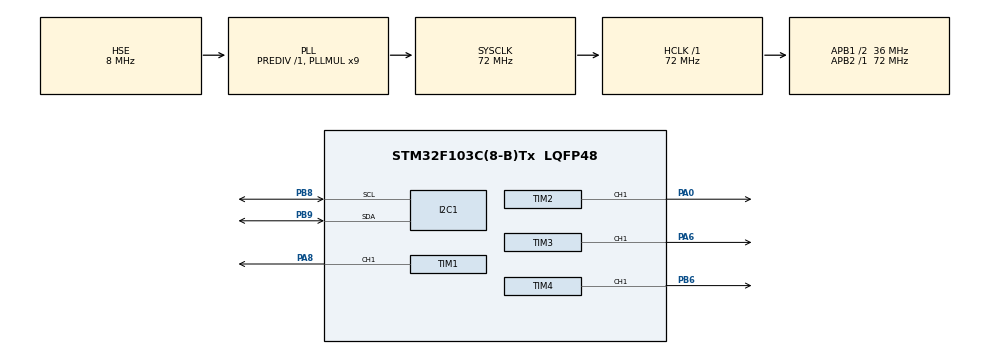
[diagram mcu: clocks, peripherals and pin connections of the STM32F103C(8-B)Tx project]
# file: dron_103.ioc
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Mcu.Family=STM32F1
Mcu.Name=STM32F103C(8-B)Tx
Mcu.Package=LQFP48
NVIC.PriorityGroup=NVIC_PRIORITYGROUP_4
PA0-WKUP.GPIO_Speed=GPIO_SPEED_FREQ_HIGH
PA0-WKUP.Signal=S_TIM2_CH1_ETR
PA13.Mode=Serial_Wire
PA13.Signal=SYS_JTMS-SWDIO
PA14.Mode=Serial_Wire
PA14.Signal=SYS_JTCK-SWCLK
PA6.GPIO_Speed=GPIO_SPEED_FREQ_HIGH
PA6.Signal=S_TIM3_CH1
PA8.GPIO_ModeDefaultPP=GPIO_MODE_AF_PP
PA8.GPIO_Speed=GPIO_SPEED_FREQ_HIGH
PA8.Signal=S_TIM1_CH1
PB6.GPIO_Speed=GPIO_SPEED_FREQ_HIGH
PB6.Signal=S_TIM4_CH1
PB8.Mode=I2C
PB8.Signal=I2C1_SCL
PB9.Mode=I2C
PB9.Signal=I2C1_SDA
PC14-OSC32_IN.Mode=LSE-External-Oscillator
PC14-OSC32_IN.Signal=RCC_OSC32_IN
PC15-OSC32_OUT.Mode=LSE-External-Oscillator
PC15-OSC32_OUT.Signal=RCC_OSC32_OUT
PD0-OSC_IN.Mode=HSE-External-Oscillator
PD0-OSC_IN.Signal=RCC_OSC_IN
PD1-OSC_OUT.Mode=HSE-External-Oscillator
PD1-OSC_OUT.Signal=RCC_OSC_OUT
ProjectManager.HeapSize=0x200
ProjectManager.StackSize=0x400
ProjectManager.TargetToolchain=STM32CubeIDE
RCC.AHBFreq_Value=72000000
RCC.APB1CLKDivider=RCC_HCLK_DIV2
RCC.APB1Freq_Value=36000000
RCC.APB1TimFreq_Value=72000000
RCC.APB2Freq_Value=72000000
RCC.APB2TimFreq_Value=72000000
RCC.HCLKFreq_Value=72000000
RCC.PLLMUL=RCC_PLL_MUL9
RCC.PLLSourceVirtual=RCC_PLLSOURCE_HSE
RCC.SYSCLKFreq_VALUE=72000000
RCC.SYSCLKSource=RCC_SYSCLKSOURCE_PLLCLK
RCC.USBFreq_Value=72000000
SH.S_TIM1_CH1.0=TIM1_CH1,PWM Generation1 CH1
SH.S_TIM2_CH1_ETR.0=TIM2_CH1,PWM Generation1 CH1
SH.S_TIM3_CH1.0=TIM3_CH1,PWM Generation1 CH1
SH.S_TIM4_CH1.0=TIM4_CH1,PWM Generation1 CH1
TIM1.AutoReloadPreload=TIM_AUTORELOAD_PRELOAD_DISABLE
TIM1.Channel-PWM\ Generation1\ CH1=TIM_CHANNEL_1
TIM1.Period=1000 - 1
TIM1.Prescaler=72 - 1
TIM1.Pulse-PWM\ Generation1\ CH1=500
TIM2.Channel-PWM\ Generation1\ CH1=TIM_CHANNEL_1
TIM2.Period=5000-1
TIM2.Prescaler=72-1
TIM2.Pulse-PWM\ Generation1\ CH1=2500
TIM3.Channel-PWM\ Generation1\ CH1=TIM_CHANNEL_1
TIM3.Period=500-1
TIM3.Prescaler=72-1
TIM3.Pulse-PWM\ Generation1\ CH1=250
TIM4.Channel-PWM\ Generation1\ CH1=TIM_CHANNEL_1
TIM4.Period=100-1
TIM4.Prescaler=72-1
TIM4.Pulse-PWM\ Generation1\ CH1=50
board=custom

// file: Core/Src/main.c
/* USER CODE BEGIN Header */
/**
  ******************************************************************************
  * @file           : main.c
  * @brief          : Main program body
  ******************************************************************************
  * @attention
  *
  * Copyright (c) 2024 STMicroelectronics.
  * All rights reserved.
  *
  * This software is licensed under terms that can be found in the LICENSE file
  * in the root directory of this software component.
  * If no LICENSE file comes with this software, it is provided AS-IS.
  *
  ******************************************************************************
  */
/* USER CODE END Header */
#include "main.h"

I2C_HandleTypeDef hi2c1;

TIM_HandleTypeDef htim1;
TIM_HandleTypeDef htim2;
TIM_HandleTypeDef htim3;
TIM_HandleTypeDef htim4;

void SystemClock_Config(void);
static void MX_GPIO_Init(void);
static void MX_I2C1_Init(void);
static void MX_TIM1_Init(void);
static void MX_TIM2_Init(void);
static void MX_TIM3_Init(void);
static void MX_TIM4_Init(void);
/* USER CODE BEGIN PFP */
void TIM_PWM_Init(uint32_t frequency, TIM_HandleTypeDef *htim);
/* USER CODE END PFP */

int main(void)
{

  /* MCU Configuration--------------------------------------------------------*/

  /* Reset of all peripherals, Initializes the Flash interface and the Systick. */
  HAL_Init();

  /* Configure the system clock */
  SystemClock_Config();

  /* Initialize all configured peripherals */
  MX_GPIO_Init();
  MX_I2C1_Init();
  MX_TIM1_Init();
  MX_TIM2_Init();
  MX_TIM3_Init();
  MX_TIM4_Init();
  /* USER CODE BEGIN 2 */

      //   HAL_TIM_PWM_Start(&htim1, TIM_CHANNEL_1);

         uint32_t frequency = 10000; // Частота таймера (в Гц)
         TIM_PWM_Init(frequency, &htim1);
         frequency = 111;
         TIM_PWM_Init(frequency, &htim2);
         frequency = 333;
         TIM_PWM_Init(frequency, &htim3);
         frequency = 5555;
        TIM_PWM_Init(frequency, &htim4);
  /* USER CODE END 2 */

  /* Infinite loop */
  while (1)
  {

  }
}

void SystemClock_Config(void)
{
  RCC_OscInitTypeDef RCC_OscInitStruct = {0};
  RCC_ClkInitTypeDef RCC_ClkInitStruct = {0};

  /** Initializes the RCC Oscillators according to the specified parameters
  * in the RCC_OscInitTypeDef structure.
  */
  RCC_OscInitStruct.OscillatorType = RCC_OSCILLATORTYPE_HSE;
  RCC_OscInitStruct.HSEState = RCC_HSE_ON;
  RCC_OscInitStruct.HSEPredivValue = RCC_HSE_PREDIV_DIV1;
  RCC_OscInitStruct.HSIState = RCC_HSI_ON;
  RCC_OscInitStruct.PLL.PLLState = RCC_PLL_ON;
  RCC_OscInitStruct.PLL.PLLSource = RCC_PLLSOURCE_HSE;
  RCC_OscInitStruct.PLL.PLLMUL = RCC_PLL_MUL9;
  if (HAL_RCC_OscConfig(&RCC_OscInitStruct) != HAL_OK)
  {
    Error_Handler();
  }

  /** Initializes the CPU, AHB and APB buses clocks
  */
  RCC_ClkInitStruct.ClockType = RCC_CLOCKTYPE_HCLK|RCC_CLOCKTYPE_SYSCLK
                              |RCC_CLOCKTYPE_PCLK1|RCC_CLOCKTYPE_PCLK2;
  RCC_ClkInitStruct.SYSCLKSource = RCC_SYSCLKSOURCE_PLLCLK;
  RCC_ClkInitStruct.AHBCLKDivider = RCC_SYSCLK_DIV1;
  RCC_ClkInitStruct.APB1CLKDivider = RCC_HCLK_DIV2;
  RCC_ClkInitStruct.APB2CLKDivider = RCC_HCLK_DIV1;

  if (HAL_RCC_ClockConfig(&RCC_ClkInitStruct, FLASH_LATENCY_2) != HAL_OK)
  {
    Error_Handler();
  }
}

static void MX_I2C1_Init(void)
{

  hi2c1.Instance = I2C1;
  hi2c1.Init.ClockSpeed = 100000;
  hi2c1.Init.DutyCycle = I2C_DUTYCYCLE_2;
  hi2c1.Init.OwnAddress1 = 0;
  hi2c1.Init.AddressingMode = I2C_ADDRESSINGMODE_7BIT;
  hi2c1.Init.DualAddressMode = I2C_DUALADDRESS_DISABLE;
  hi2c1.Init.OwnAddress2 = 0;
  hi2c1.Init.GeneralCallMode = I2C_GENERALCALL_DISABLE;
  hi2c1.Init.NoStretchMode = I2C_NOSTRETCH_DISABLE;
  if (HAL_I2C_Init(&hi2c1) != HAL_OK)
  {
    Error_Handler();
  }

}

static void MX_TIM1_Init(void)
{

  /* USER CODE BEGIN TIM1_Init 0 */
	 __HAL_RCC_TIM1_CLK_ENABLE();
  /* USER CODE END TIM1_Init 0 */

  TIM_MasterConfigTypeDef sMasterConfig = {0};
  TIM_OC_InitTypeDef sConfigOC = {0};
  TIM_BreakDeadTimeConfigTypeDef sBreakDeadTimeConfig = {0};

  htim1.Instance = TIM1;
  htim1.Init.Prescaler = 72 - 1;
  htim1.Init.CounterMode = TIM_COUNTERMODE_UP;
  htim1.Init.Period = 1000 - 1;
  htim1.Init.ClockDivision = TIM_CLOCKDIVISION_DIV1;
  htim1.Init.RepetitionCounter = 0;
  htim1.Init.AutoReloadPreload = TIM_AUTORELOAD_PRELOAD_DISABLE;
  if (HAL_TIM_PWM_Init(&htim1) != HAL_OK)
  {
    Error_Handler();
  }
  sMasterConfig.MasterOutputTrigger = TIM_TRGO_RESET;
  sMasterConfig.MasterSlaveMode = TIM_MASTERSLAVEMODE_DISABLE;
  if (HAL_TIMEx_MasterConfigSynchronization(&htim1, &sMasterConfig) != HAL_OK)
  {
    Error_Handler();
  }
  sConfigOC.OCMode = TIM_OCMODE_PWM1;
  sConfigOC.Pulse = 500;
  sConfigOC.OCPolarity = TIM_OCPOLARITY_HIGH;
  sConfigOC.OCNPolarity = TIM_OCNPOLARITY_HIGH;
  sConfigOC.OCFastMode = TIM_OCFAST_DISABLE;
  sConfigOC.OCIdleState = TIM_OCIDLESTATE_RESET;
  sConfigOC.OCNIdleState = TIM_OCNIDLESTATE_RESET;
  if (HAL_TIM_PWM_ConfigChannel(&htim1, &sConfigOC, TIM_CHANNEL_1) != HAL_OK)
  {
    Error_Handler();
  }
  sBreakDeadTimeConfig.OffStateRunMode = TIM_OSSR_DISABLE;
  sBreakDeadTimeConfig.OffStateIDLEMode = TIM_OSSI_DISABLE;
  sBreakDeadTimeConfig.LockLevel = TIM_LOCKLEVEL_OFF;
  sBreakDeadTimeConfig.DeadTime = 0;
  sBreakDeadTimeConfig.BreakState = TIM_BREAK_DISABLE;
  sBreakDeadTimeConfig.BreakPolarity = TIM_BREAKPOLARITY_HIGH;
  sBreakDeadTimeConfig.AutomaticOutput = TIM_AUTOMATICOUTPUT_DISABLE;
  if (HAL_TIMEx_ConfigBreakDeadTime(&htim1, &sBreakDeadTimeConfig) != HAL_OK)
  {
    Error_Handler();
  }
  HAL_TIM_MspPostInit(&htim1);

}

static void MX_TIM2_Init(void)
{

  TIM_MasterConfigTypeDef sMasterConfig = {0};
  TIM_OC_InitTypeDef sConfigOC = {0};

  htim2.Instance = TIM2;
  htim2.Init.Prescaler = 72-1;
  htim2.Init.CounterMode = TIM_COUNTERMODE_UP;
  htim2.Init.Period = 5000-1;
  htim2.Init.ClockDivision = TIM_CLOCKDIVISION_DIV1;
  htim2.Init.AutoReloadPreload = TIM_AUTORELOAD_PRELOAD_DISABLE;
  if (HAL_TIM_PWM_Init(&htim2) != HAL_OK)
  {
    Error_Handler();
  }
  sMasterConfig.MasterOutputTrigger = TIM_TRGO_RESET;
  sMasterConfig.MasterSlaveMode = TIM_MASTERSLAVEMODE_DISABLE;
  if (HAL_TIMEx_MasterConfigSynchronization(&htim2, &sMasterConfig) != HAL_OK)
  {
    Error_Handler();
  }
  sConfigOC.OCMode = TIM_OCMODE_PWM1;
  sConfigOC.Pulse = 2500;
  sConfigOC.OCPolarity = TIM_OCPOLARITY_HIGH;
  sConfigOC.OCFastMode = TIM_OCFAST_DISABLE;
  if (HAL_TIM_PWM_ConfigChannel(&htim2, &sConfigOC, TIM_CHANNEL_1) != HAL_OK)
  {
    Error_Handler();
  }
  HAL_TIM_MspPostInit(&htim2);

}

static void MX_TIM3_Init(void)
{

  TIM_MasterConfigTypeDef sMasterConfig = {0};
  TIM_OC_InitTypeDef sConfigOC = {0};

  htim3.Instance = TIM3;
  htim3.Init.Prescaler = 72-1;
  htim3.Init.CounterMode = TIM_COUNTERMODE_UP;
  htim3.Init.Period = 500-1;
  htim3.Init.ClockDivision = TIM_CLOCKDIVISION_DIV1;
  htim3.Init.AutoReloadPreload = TIM_AUTORELOAD_PRELOAD_DISABLE;
  if (HAL_TIM_PWM_Init(&htim3) != HAL_OK)
  {
    Error_Handler();
  }
  sMasterConfig.MasterOutputTrigger = TIM_TRGO_RESET;
  sMasterConfig.MasterSlaveMode = TIM_MASTERSLAVEMODE_DISABLE;
  if (HAL_TIMEx_MasterConfigSynchronization(&htim3, &sMasterConfig) != HAL_OK)
  {
    Error_Handler();
  }
  sConfigOC.OCMode = TIM_OCMODE_PWM1;
  sConfigOC.Pulse = 250;
  sConfigOC.OCPolarity = TIM_OCPOLARITY_HIGH;
  sConfigOC.OCFastMode = TIM_OCFAST_DISABLE;
  if (HAL_TIM_PWM_ConfigChannel(&htim3, &sConfigOC, TIM_CHANNEL_1) != HAL_OK)
  {
    Error_Handler();
  }
  HAL_TIM_MspPostInit(&htim3);

}

static void MX_TIM4_Init(void)
{

  TIM_MasterConfigTypeDef sMasterConfig = {0};
  TIM_OC_InitTypeDef sConfigOC = {0};

  htim4.Instance = TIM4;
  htim4.Init.Prescaler = 72-1;
  htim4.Init.CounterMode = TIM_COUNTERMODE_UP;
  htim4.Init.Period = 100-1;
  htim4.Init.ClockDivision = TIM_CLOCKDIVISION_DIV1;
  htim4.Init.AutoReloadPreload = TIM_AUTORELOAD_PRELOAD_DISABLE;
  if (HAL_TIM_PWM_Init(&htim4) != HAL_OK)
  {
    Error_Handler();
  }
  sMasterConfig.MasterOutputTrigger = TIM_TRGO_RESET;
  sMasterConfig.MasterSlaveMode = TIM_MASTERSLAVEMODE_DISABLE;
  if (HAL_TIMEx_MasterConfigSynchronization(&htim4, &sMasterConfig) != HAL_OK)
  {
    Error_Handler();
  }
  sConfigOC.OCMode = TIM_OCMODE_PWM1;
  sConfigOC.Pulse = 50;
  sConfigOC.OCPolarity = TIM_OCPOLARITY_HIGH;
  sConfigOC.OCFastMode = TIM_OCFAST_DISABLE;
  if (HAL_TIM_PWM_ConfigChannel(&htim4, &sConfigOC, TIM_CHANNEL_1) != HAL_OK)
  {
    Error_Handler();
  }
  HAL_TIM_MspPostInit(&htim4);

}

static void MX_GPIO_Init(void)
{

  /* GPIO Ports Clock Enable */
  __HAL_RCC_GPIOC_CLK_ENABLE();
  __HAL_RCC_GPIOD_CLK_ENABLE();
  __HAL_RCC_GPIOA_CLK_ENABLE();
  __HAL_RCC_GPIOB_CLK_ENABLE();

}

/* USER CODE BEGIN 4 */
void TIM_PWM_Init(uint32_t frequency, TIM_HandleTypeDef *htim) {

	// Включение тактирования соответствующего таймера
	  if (htim->Instance == TIM1) {
	    __HAL_RCC_TIM1_CLK_ENABLE();
	  } else if (htim->Instance == TIM2) {
	    __HAL_RCC_TIM2_CLK_ENABLE();
	  } else if (htim->Instance == TIM3) {
	    __HAL_RCC_TIM3_CLK_ENABLE();
	  }
	  else if (htim->Instance == TIM4) {
	  	    __HAL_RCC_TIM4_CLK_ENABLE();
	  	  }

	 uint32_t period = HAL_RCC_GetPCLK2Freq() / frequency /72;

	  TIM_MasterConfigTypeDef sMasterConfig = {0};
	  TIM_OC_InitTypeDef sConfigOC = {0};
	  TIM_BreakDeadTimeConfigTypeDef sBreakDeadTimeConfig = {0};

	  /* USER CODE BEGIN TIM1_Init 1 */

	  /* USER CODE END TIM1_Init 1 */
	//  htim->Instance = TIM1;
	  htim->Init.Prescaler = 72 - 1;
	  htim->Init.CounterMode = TIM_COUNTERMODE_UP;
	  htim->Init.Period = period- 1;
	  htim->Init.ClockDivision = TIM_CLOCKDIVISION_DIV1;
	  htim->Init.RepetitionCounter = 0;
	  htim->Init.AutoReloadPreload = TIM_AUTORELOAD_PRELOAD_DISABLE;
	  if (HAL_TIM_PWM_Init(htim) != HAL_OK)
	  {
	    Error_Handler();
	  }
	  sMasterConfig.MasterOutputTrigger = TIM_TRGO_RESET;
	  sMasterConfig.MasterSlaveMode = TIM_MASTERSLAVEMODE_DISABLE;
	  if (HAL_TIMEx_MasterConfigSynchronization(htim, &sMasterConfig) != HAL_OK)
	  {
	    Error_Handler();
	  }
	  sConfigOC.OCMode = TIM_OCMODE_PWM1;
	  sConfigOC.Pulse = period/2;
	  sConfigOC.OCPolarity = TIM_OCPOLARITY_HIGH;
	  sConfigOC.OCNPolarity = TIM_OCNPOLARITY_HIGH;
	  sConfigOC.OCFastMode = TIM_OCFAST_DISABLE;
	  sConfigOC.OCIdleState = TIM_OCIDLESTATE_RESET;
	  sConfigOC.OCNIdleState = TIM_OCNIDLESTATE_RESET;
	  if (HAL_TIM_PWM_ConfigChannel(htim, &sConfigOC, TIM_CHANNEL_1) != HAL_OK)
	  {
	    Error_Handler();
	  }
	  sBreakDeadTimeConfig.OffStateRunMode = TIM_OSSR_DISABLE;
	  sBreakDeadTimeConfig.OffStateIDLEMode = TIM_OSSI_DISABLE;
	  sBreakDeadTimeConfig.LockLevel = TIM_LOCKLEVEL_OFF;
	  sBreakDeadTimeConfig.DeadTime = 0;
	  sBreakDeadTimeConfig.BreakState = TIM_BREAK_DISABLE;
	  sBreakDeadTimeConfig.BreakPolarity = TIM_BREAKPOLARITY_HIGH;
	  sBreakDeadTimeConfig.AutomaticOutput = TIM_AUTOMATICOUTPUT_DISABLE;
	  if (HAL_TIMEx_ConfigBreakDeadTime(htim, &sBreakDeadTimeConfig) != HAL_OK)
	  {
	    Error_Handler();
	  }
	  /* USER CODE BEGIN TIM1_Init 2 */

	  /* USER CODE END TIM1_Init 2 */
	  HAL_TIM_MspPostInit(htim);
	  HAL_TIM_PWM_Start(htim, TIM_CHANNEL_1);

}
/* USER CODE END 4 */

void Error_Handler(void)
{
  __disable_irq();
  while (1)
  {
  }
}
